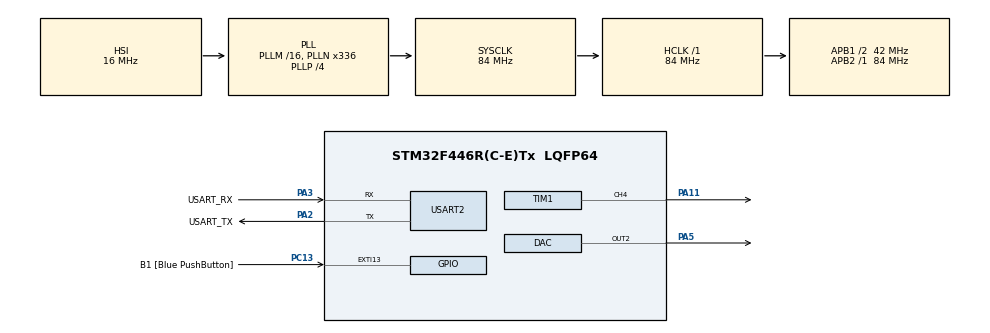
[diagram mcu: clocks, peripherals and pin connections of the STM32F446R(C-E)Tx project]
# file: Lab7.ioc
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DAC.DAC_Trigger2=DAC_TRIGGER_T6_TRGO
Dma.DAC2.1.Direction=DMA_MEMORY_TO_PERIPH
Dma.DAC2.1.FIFOMode=DMA_FIFOMODE_DISABLE
Dma.DAC2.1.Instance=DMA1_Stream6
Dma.DAC2.1.MemDataAlignment=DMA_MDATAALIGN_HALFWORD
Dma.DAC2.1.MemInc=DMA_MINC_ENABLE
Dma.DAC2.1.Mode=DMA_CIRCULAR
Dma.DAC2.1.PeriphDataAlignment=DMA_PDATAALIGN_HALFWORD
Dma.DAC2.1.PeriphInc=DMA_PINC_DISABLE
Dma.DAC2.1.Priority=DMA_PRIORITY_LOW
Dma.Request0=USART2_RX
Dma.Request1=DAC2
Dma.USART2_RX.0.Direction=DMA_PERIPH_TO_MEMORY
Dma.USART2_RX.0.FIFOMode=DMA_FIFOMODE_DISABLE
Dma.USART2_RX.0.Instance=DMA1_Stream5
Dma.USART2_RX.0.MemDataAlignment=DMA_MDATAALIGN_BYTE
Dma.USART2_RX.0.MemInc=DMA_MINC_ENABLE
Dma.USART2_RX.0.Mode=DMA_CIRCULAR
Dma.USART2_RX.0.PeriphDataAlignment=DMA_PDATAALIGN_BYTE
Dma.USART2_RX.0.PeriphInc=DMA_PINC_DISABLE
Dma.USART2_RX.0.Priority=DMA_PRIORITY_LOW
Mcu.Family=STM32F4
Mcu.Name=STM32F446R(C-E)Tx
Mcu.Package=LQFP64
NVIC.DMA1_Stream5_IRQn=true\:0\:0\:false\:false\:true\:false\:true\:true
NVIC.DMA1_Stream6_IRQn=true\:0\:0\:false\:false\:true\:false\:true\:true
NVIC.PriorityGroup=NVIC_PRIORITYGROUP_0
PA11.Signal=S_TIM1_CH4
PA13.GPIO_Label=TMS
PA13.Mode=Serial_Wire
PA13.Signal=SYS_JTMS-SWDIO
PA14.GPIO_Label=TCK
PA14.Mode=Serial_Wire
PA14.Signal=SYS_JTCK-SWCLK
PA2.GPIO_Label=USART_TX
PA2.Mode=Asynchronous
PA2.Signal=USART2_TX
PA3.GPIO_Label=USART_RX
PA3.Mode=Asynchronous
PA3.Signal=USART2_RX
PA5.Signal=COMP_DAC2_group
PB3.GPIO_Label=SWO
PB3.Signal=SYS_JTDO-SWO
PC13.GPIO_Label=B1 [Blue PushButton]
PC13.GPIO_ModeDefaultEXTI=GPIO_MODE_IT_FALLING
PC13.Signal=GPXTI13
PC14-OSC32_IN.Mode=LSE-External-Oscillator
PC14-OSC32_IN.Signal=RCC_OSC32_IN
PC15-OSC32_OUT.Mode=LSE-External-Oscillator
PC15-OSC32_OUT.Signal=RCC_OSC32_OUT
PH0-OSC_IN.Mode=HSE-External-Oscillator
PH0-OSC_IN.Signal=RCC_OSC_IN
PH1-OSC_OUT.Mode=HSE-External-Oscillator
PH1-OSC_OUT.Signal=RCC_OSC_OUT
ProjectManager.HeapSize=0x200
ProjectManager.StackSize=0x400
ProjectManager.TargetToolchain=STM32CubeIDE
RCC.48MHZClocksFreq_Value=84000000
RCC.AHBFreq_Value=84000000
RCC.APB1CLKDivider=RCC_HCLK_DIV2
RCC.APB1Freq_Value=42000000
RCC.APB1TimFreq_Value=84000000
RCC.APB2Freq_Value=84000000
RCC.APB2TimFreq_Value=84000000
RCC.CortexFreq_Value=84000000
RCC.FLatency-AdvancedSettings=FLASH_LATENCY_2
RCC.HCLKFreq_Value=84000000
RCC.HSE_VALUE=8000000
RCC.HSI_VALUE=16000000
RCC.PLLN=336
RCC.PLLP=RCC_PLLP_DIV4
RCC.SYSCLKFreq_VALUE=84000000
RCC.SYSCLKSource=RCC_SYSCLKSOURCE_PLLCLK
RCC.USBFreq_Value=168000000
RCC.VCOOutputFreq_Value=336000000
SH.COMP_DAC2_group.0=DAC_OUT2,DAC_OUT2
SH.S_TIM1_CH4.0=TIM1_CH4,PWM Generation4 CH4
TIM1.Channel-PWM\ Generation4\ CH4=TIM_CHANNEL_4
TIM1.Period=100-1
TIM1.Pulse-PWM\ Generation4\ CH4=50
TIM6.AutoReloadPreload=TIM_AUTORELOAD_PRELOAD_DISABLE
TIM6.TIM_MasterOutputTrigger=TIM_TRGO_UPDATE
USART2.VirtualMode=VM_ASYNC
VP_TIM6_VS_ClockSourceINT.Mode=Enable_Timer
board=NUCLEO-F446RE

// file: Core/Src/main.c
/* USER CODE BEGIN Header */
/**
  ******************************************************************************
  * @file           : main.c
  * @brief          : Main program body
  ******************************************************************************
  * @attention
  *
  * Copyright (c) 2026 STMicroelectronics.
  * All rights reserved.
  *
  * This software is licensed under terms that can be found in the LICENSE file
  * in the root directory of this software component.
  * If no LICENSE file comes with this software, it is provided AS-IS.
  *
  ******************************************************************************
  */
/* USER CODE END Header */
#include "main.h"

/* USER CODE BEGIN Includes */
#include <stdint.h>
#include <stdio.h>
#include <string.h>
#include "math.h"
/* USER CODE END Includes */

/* USER CODE BEGIN PTD */
#define NOTE_B3  247
#define NOTE_C5  523
#define NOTE_D5  587
#define NOTE_E5  659
#define NOTE_F5  698
#define NOTE_G5  784
#define NOTE_A5  880
#define NOTE_C4  262
#define NOTE_D4  294
#define NOTE_E4  330
#define NOTE_F4  349
#define NOTE_G4  392
#define NOTE_A4  440
#define NOTE_CS4 277   // Do# 4
#define NOTE_GS4 415   // Sol# 4
#define NOTE_AS4 466   // La# 4
#define NOTE_CS5 554   // Do# 5
#define NOTE_GS3 208   // Sol# 3
#define NOTE_AS3 233   // La# 3
#define NOTE_FS4 370   // Fa# 4
#define NOTE_DS4 311   // Re# 4
#define NOTE_B4  494   // Si 4
#define NOTE_DS5 622   // Re# 5
#define NOTE_FS5 740   // Fa# 5
#define NOTE_A3  220   // La 3
#define NOTE_C3  131   // Do 3
#define NOTE_D3  147   // Re 3
#define NOTE_E3  165   // Mi 3
#define NOTE_F3  175   // Fa 3
#define NOTE_G3  196   // Sol 3
#define NOTE_REST 0
/* USER CODE END PTD */

/* USER CODE BEGIN PD */
#define TIM_FREQ 84000000

#define sinsize 128
#define TIM_ARR_VAL 100
#define Pi 3.1415926
#define TIM_PSC_VAL 1
/* USER CODE END PD */

DAC_HandleTypeDef hdac;
DMA_HandleTypeDef hdma_dac2;

TIM_HandleTypeDef htim1;
TIM_HandleTypeDef htim6;

UART_HandleTypeDef huart2;
DMA_HandleTypeDef hdma_usart2_rx;

/* USER CODE BEGIN PV */
char estado[50];
uint8_t temp[2];
uint8_t val_can = 0;
uint32_t Ysen[128];
int fur_elise_freq[42] = {
    659, 622, 659, 622, 659, 494, 587, 523, 440,
    0,
    262, 330, 440,
    0,
    330, 415, 494,
    0,
    330, 659, 622, 659, 622, 659, 494, 587, 523, 440,
    0,
    262, 330, 440,
    0,
    330, 494, 440,
    0
};

int fur_elise_dur[42] = {
    180, 180, 180, 180, 180, 180, 180, 180, 360,
    120,
    180, 180, 360,
    120,
    180, 180, 360,
    120,
    180, 180, 180, 180, 180, 180, 180, 180, 360,
    120,
    180, 180, 360,
    120,
    180, 180, 400,
    200
};
int pirates_freq[34] = {
    440, 523, 587, 587, 587,
    659, 698, 659, 587,
    523, 440, 440,
    587, 659, 698, 659,
    587, 523, 587, 659,
    440, 0,
    440, 523, 587, 587,
    659, 698, 659, 587,
    523, 440, 440, 0
};

int pirates_dur[34] = {
    200, 200, 300, 150, 150,
    300, 200, 200, 300,
    200, 300, 200,
    200, 200, 300, 200,
    200, 200, 200, 400,
    300, 150,
    200, 200, 300, 150,
    300, 200, 200, 300,
    200, 400, 300, 500
};
int pirates_freq_dac[] = {
    NOTE_A4, NOTE_C5, NOTE_D5, NOTE_D5, NOTE_D5,
    NOTE_E5, NOTE_F5, NOTE_E5, NOTE_D5,
    NOTE_C5, NOTE_A4, NOTE_A4,
    NOTE_D5, NOTE_E5, NOTE_F5, NOTE_E5,
    NOTE_D5, NOTE_C5, NOTE_D5, NOTE_E5,
    NOTE_A4, NOTE_REST,
    NOTE_A4, NOTE_C5, NOTE_D5, NOTE_D5,
    NOTE_E5, NOTE_F5, NOTE_E5, NOTE_D5,
    NOTE_C5, NOTE_A4, NOTE_A4, NOTE_REST
};
int pirates_dur_dac[] = {
    200, 200, 300, 150, 150,
    300, 200, 200, 300,
    200, 300, 200,
    200, 200, 300, 200,
    200, 200, 200, 400,
    300, 150,
    200, 200, 300, 150,
    300, 200, 200, 300,
    200, 400, 300, 500
};
/* USER CODE END PV */

void SystemClock_Config(void);
static void MX_GPIO_Init(void);
static void MX_DMA_Init(void);
static void MX_TIM1_Init(void);
static void MX_USART2_UART_Init(void);
static void MX_DAC_Init(void);
static void MX_TIM6_Init(void);
/* USER CODE BEGIN PFP */
int presForFrecuency(int frecuency);
void playTone(int *tone, int *duration, int *pause, int size);
void noTone(void);
void noToneDAC(void);
void generarSin(void);
void playToneDAC(int *tone, int *duration, int *pause, int Nsize);
int calcularARR(int freq);
/* USER CODE END PFP */

/* USER CODE BEGIN 0 */
int calcularARR(int freq){
    if (freq == 0)
        return 0;
    int TF = sinsize * freq;
    return ((TIM_FREQ / ((TIM_PSC_VAL + 1) * TF)) - 1);
}
void generarSin(void){
	for(int x=0; x<sinsize; x++){
		Ysen[x] = (uint32_t)((sin(x * 2.0 * Pi / sinsize) + 1.0) * (4095.0 / 2.0));
	}
}
void playToneDAC(int *tone, int *duration, int *pause, int Nsize){
    for (int i = 0; i < Nsize; i++) {
        int arr = calcularARR(tone[i]);  // ✅ usar calcularARR()
        int dur = duration[i];
        int pauseBetweenTones = 0;
        if (pause != NULL)
            pauseBetweenTones = pause[i] - duration[i];

        if (tone[i] != NOTE_REST) {
            __HAL_TIM_SET_AUTORELOAD(&htim6, arr);
            __HAL_TIM_SET_COUNTER(&htim6, 0);
            HAL_DAC_Start_DMA(&hdac, DAC_CHANNEL_2,
                (uint32_t*)Ysen, sinsize, DAC_ALIGN_12B_R);
            HAL_TIM_Base_Start(&htim6);
        } else {
            noToneDAC();
        }
        HAL_Delay(dur);
        noToneDAC();
        HAL_Delay(pauseBetweenTones);
    }
}
int presForFrequency(int frequency){
	if (frequency == 0)
		return 0;
	return((TIM_FREQ / (TIM_ARR_VAL * frequency)) - 1);
}
void noTone(void){
    __HAL_TIM_SET_COMPARE(&htim1, TIM_CHANNEL_4, 0);
}
void playTone(int *tone, int *duration, int*pause, int size){
	for(int i = 0; i < size; i++){
	int prescaler = presForFrequency(tone[i]);
	int dur = duration[i];
	int pauseBetweenTones = 0;
	if(pause != NULL)
       pauseBetweenTones = pause[i] - duration[i];

	__HAL_TIM_SET_PRESCALER(&htim1, prescaler);
	__HAL_TIM_SET_COMPARE(&htim1, TIM_CHANNEL_4, TIM_ARR_VAL / 2);
	HAL_Delay(dur);
	noTone();
	HAL_Delay(pauseBetweenTones);
	}
}

void playTonePRE(const int *tone, const int *duration, const int*pause, int size){
	for(int i = 0; i < size; i++){
	int prescaler = presForFrequency(tone[i]);
	int dur = duration[i]*2;
	int pauseBetweenTones = 0;
	if(pause != NULL)
       pauseBetweenTones = pause[i] - duration[i];

	__HAL_TIM_SET_PRESCALER(&htim1, prescaler);
	__HAL_TIM_SET_COMPARE(&htim1, TIM_CHANNEL_4, TIM_ARR_VAL / 2);
	HAL_Delay(dur);
	noTone();

	HAL_Delay(pauseBetweenTones);
	}
}
void noToneDAC(void){
    HAL_DAC_Stop_DMA(&hdac, DAC_CHANNEL_2); // ✅
    HAL_TIM_Base_Stop(&htim6);              // ✅
}
/* USER CODE END 0 */

int main(void)
{

  /* MCU Configuration--------------------------------------------------------*/

  /* Reset of all peripherals, Initializes the Flash interface and the Systick. */
  HAL_Init();

  /* Configure the system clock */
  SystemClock_Config();

  /* Initialize all configured peripherals */
  MX_GPIO_Init();
  MX_DMA_Init();
  MX_TIM1_Init();
  MX_USART2_UART_Init();
  MX_DAC_Init();
  MX_TIM6_Init();
  /* USER CODE BEGIN 2 */
  HAL_TIM_PWM_Start(&htim1, TIM_CHANNEL_4);
  HAL_UART_Receive_DMA(&huart2, temp, 1);
  HAL_DAC_Start(&hdac, DAC_CHANNEL_2);
  /* USER CODE END 2 */

  /* Infinite loop */
  /* USER CODE BEGIN WHILE */
  strcpy(estado, "----------Menu de canciones----------\n");
  HAL_UART_Transmit(&huart2, estado, strlen(estado), 100);
  strcpy(estado, "Opcion 1: Para Elisa de Bethoven\n");
  HAL_UART_Transmit(&huart2, estado, strlen(estado), 100);
  strcpy(estado, "Opcion 2: Piratas del caribe \n");
  HAL_UART_Transmit(&huart2, estado, strlen(estado), 100);
  strcpy(estado, "Seleccione la opcion deseada (ingrese el numero): ");
  HAL_UART_Transmit(&huart2, estado, strlen(estado), 100);
  val_can = 0;

  generarSin();
  while (1)
  {

	  if (val_can == 1){
		  playTonePRE(fur_elise_freq, fur_elise_dur,NULL,(sizeof(fur_elise_freq)/sizeof(fur_elise_freq[0])));
		  val_can = 0;
		  strcpy(estado, "\n");
		  HAL_UART_Transmit(&huart2, estado, strlen(estado), 100);
		  strcpy(estado, "Seleccione la opcion deseada (ingrese el numero): ");
		  HAL_UART_Transmit(&huart2, estado, strlen(estado), 100);
	  } else if(val_can == 2){
		  //playTonePRE(pirates_freq, pirates_dur,NULL,(sizeof(pirates_freq)/sizeof(pirates_freq[0])));
		  playToneDAC(pirates_freq_dac, pirates_dur_dac, NULL, sizeof(pirates_freq_dac)/sizeof(pirates_freq_dac[0]));
		  val_can = 0;
		  strcpy(estado, "\n");
		  HAL_UART_Transmit(&huart2, estado, strlen(estado), 100);
		  strcpy(estado, "Seleccione la opcion deseada (ingrese el numero): ");
	  }
    /* USER CODE END WHILE */

  }
}

void SystemClock_Config(void)
{
  RCC_OscInitTypeDef RCC_OscInitStruct = {0};
  RCC_ClkInitTypeDef RCC_ClkInitStruct = {0};

  /** Configure the main internal regulator output voltage
  */
  __HAL_RCC_PWR_CLK_ENABLE();
  __HAL_PWR_VOLTAGESCALING_CONFIG(PWR_REGULATOR_VOLTAGE_SCALE3);

  /** Initializes the RCC Oscillators according to the specified parameters
  * in the RCC_OscInitTypeDef structure.
  */
  RCC_OscInitStruct.OscillatorType = RCC_OSCILLATORTYPE_HSI;
  RCC_OscInitStruct.HSIState = RCC_HSI_ON;
  RCC_OscInitStruct.HSICalibrationValue = RCC_HSICALIBRATION_DEFAULT;
  RCC_OscInitStruct.PLL.PLLState = RCC_PLL_ON;
  RCC_OscInitStruct.PLL.PLLSource = RCC_PLLSOURCE_HSI;
  RCC_OscInitStruct.PLL.PLLM = 16;
  RCC_OscInitStruct.PLL.PLLN = 336;
  RCC_OscInitStruct.PLL.PLLP = RCC_PLLP_DIV4;
  RCC_OscInitStruct.PLL.PLLQ = 2;
  RCC_OscInitStruct.PLL.PLLR = 2;
  if (HAL_RCC_OscConfig(&RCC_OscInitStruct) != HAL_OK)
  {
    Error_Handler();
  }

  /** Initializes the CPU, AHB and APB buses clocks
  */
  RCC_ClkInitStruct.ClockType = RCC_CLOCKTYPE_HCLK|RCC_CLOCKTYPE_SYSCLK
                              |RCC_CLOCKTYPE_PCLK1|RCC_CLOCKTYPE_PCLK2;
  RCC_ClkInitStruct.SYSCLKSource = RCC_SYSCLKSOURCE_PLLCLK;
  RCC_ClkInitStruct.AHBCLKDivider = RCC_SYSCLK_DIV1;
  RCC_ClkInitStruct.APB1CLKDivider = RCC_HCLK_DIV2;
  RCC_ClkInitStruct.APB2CLKDivider = RCC_HCLK_DIV1;

  if (HAL_RCC_ClockConfig(&RCC_ClkInitStruct, FLASH_LATENCY_2) != HAL_OK)
  {
    Error_Handler();
  }
}

static void MX_DAC_Init(void)
{

  DAC_ChannelConfTypeDef sConfig = {0};

  /** DAC Initialization
  */
  hdac.Instance = DAC;
  if (HAL_DAC_Init(&hdac) != HAL_OK)
  {
    Error_Handler();
  }

  /** DAC channel OUT2 config
  */
  sConfig.DAC_Trigger = DAC_TRIGGER_T6_TRGO;
  sConfig.DAC_OutputBuffer = DAC_OUTPUTBUFFER_ENABLE;
  if (HAL_DAC_ConfigChannel(&hdac, &sConfig, DAC_CHANNEL_2) != HAL_OK)
  {
    Error_Handler();
  }

}

static void MX_TIM1_Init(void)
{

  TIM_MasterConfigTypeDef sMasterConfig = {0};
  TIM_OC_InitTypeDef sConfigOC = {0};
  TIM_BreakDeadTimeConfigTypeDef sBreakDeadTimeConfig = {0};

  htim1.Instance = TIM1;
  htim1.Init.Prescaler = 0;
  htim1.Init.CounterMode = TIM_COUNTERMODE_UP;
  htim1.Init.Period = 100-1;
  htim1.Init.ClockDivision = TIM_CLOCKDIVISION_DIV1;
  htim1.Init.RepetitionCounter = 0;
  htim1.Init.AutoReloadPreload = TIM_AUTORELOAD_PRELOAD_DISABLE;
  if (HAL_TIM_PWM_Init(&htim1) != HAL_OK)
  {
    Error_Handler();
  }
  sMasterConfig.MasterOutputTrigger = TIM_TRGO_RESET;
  sMasterConfig.MasterSlaveMode = TIM_MASTERSLAVEMODE_DISABLE;
  if (HAL_TIMEx_MasterConfigSynchronization(&htim1, &sMasterConfig) != HAL_OK)
  {
    Error_Handler();
  }
  sConfigOC.OCMode = TIM_OCMODE_PWM1;
  sConfigOC.Pulse = 50;
  sConfigOC.OCPolarity = TIM_OCPOLARITY_HIGH;
  sConfigOC.OCFastMode = TIM_OCFAST_DISABLE;
  sConfigOC.OCIdleState = TIM_OCIDLESTATE_RESET;
  sConfigOC.OCNIdleState = TIM_OCNIDLESTATE_RESET;
  if (HAL_TIM_PWM_ConfigChannel(&htim1, &sConfigOC, TIM_CHANNEL_4) != HAL_OK)
  {
    Error_Handler();
  }
  sBreakDeadTimeConfig.OffStateRunMode = TIM_OSSR_DISABLE;
  sBreakDeadTimeConfig.OffStateIDLEMode = TIM_OSSI_DISABLE;
  sBreakDeadTimeConfig.LockLevel = TIM_LOCKLEVEL_OFF;
  sBreakDeadTimeConfig.DeadTime = 0;
  sBreakDeadTimeConfig.BreakState = TIM_BREAK_DISABLE;
  sBreakDeadTimeConfig.BreakPolarity = TIM_BREAKPOLARITY_HIGH;
  sBreakDeadTimeConfig.AutomaticOutput = TIM_AUTOMATICOUTPUT_DISABLE;
  if (HAL_TIMEx_ConfigBreakDeadTime(&htim1, &sBreakDeadTimeConfig) != HAL_OK)
  {
    Error_Handler();
  }
  HAL_TIM_MspPostInit(&htim1);

}

static void MX_TIM6_Init(void)
{

  TIM_MasterConfigTypeDef sMasterConfig = {0};

  htim6.Instance = TIM6;
  htim6.Init.Prescaler = 0;
  htim6.Init.CounterMode = TIM_COUNTERMODE_UP;
  htim6.Init.Period = 65535;
  htim6.Init.AutoReloadPreload = TIM_AUTORELOAD_PRELOAD_DISABLE;
  if (HAL_TIM_Base_Init(&htim6) != HAL_OK)
  {
    Error_Handler();
  }
  sMasterConfig.MasterOutputTrigger = TIM_TRGO_UPDATE;
  sMasterConfig.MasterSlaveMode = TIM_MASTERSLAVEMODE_DISABLE;
  if (HAL_TIMEx_MasterConfigSynchronization(&htim6, &sMasterConfig) != HAL_OK)
  {
    Error_Handler();
  }

}

static void MX_USART2_UART_Init(void)
{

  huart2.Instance = USART2;
  huart2.Init.BaudRate = 115200;
  huart2.Init.WordLength = UART_WORDLENGTH_8B;
  huart2.Init.StopBits = UART_STOPBITS_1;
  huart2.Init.Parity = UART_PARITY_NONE;
  huart2.Init.Mode = UART_MODE_TX_RX;
  huart2.Init.HwFlowCtl = UART_HWCONTROL_NONE;
  huart2.Init.OverSampling = UART_OVERSAMPLING_16;
  if (HAL_UART_Init(&huart2) != HAL_OK)
  {
    Error_Handler();
  }

}

static void MX_DMA_Init(void)
{

  /* DMA controller clock enable */
  __HAL_RCC_DMA1_CLK_ENABLE();

  /* DMA interrupt init */
  /* DMA1_Stream5_IRQn interrupt configuration */
  HAL_NVIC_SetPriority(DMA1_Stream5_IRQn, 0, 0);
  HAL_NVIC_EnableIRQ(DMA1_Stream5_IRQn);
  /* DMA1_Stream6_IRQn interrupt configuration */
  HAL_NVIC_SetPriority(DMA1_Stream6_IRQn, 0, 0);
  HAL_NVIC_EnableIRQ(DMA1_Stream6_IRQn);

}

static void MX_GPIO_Init(void)
{
  GPIO_InitTypeDef GPIO_InitStruct = {0};

  /* GPIO Ports Clock Enable */
  __HAL_RCC_GPIOC_CLK_ENABLE();
  __HAL_RCC_GPIOH_CLK_ENABLE();
  __HAL_RCC_GPIOA_CLK_ENABLE();
  __HAL_RCC_GPIOB_CLK_ENABLE();

  /*Configure GPIO pin : B1_Pin */
  GPIO_InitStruct.Pin = B1_Pin;
  GPIO_InitStruct.Mode = GPIO_MODE_IT_FALLING;
  GPIO_InitStruct.Pull = GPIO_NOPULL;
  HAL_GPIO_Init(B1_GPIO_Port, &GPIO_InitStruct);

}

/* USER CODE BEGIN 4 */
void HAL_UART_RxCpltCallback(UART_HandleTypeDef *huart){
	HAL_UART_Receive_IT(&huart2, temp, 1);
	if (temp[0] == '1'){
		val_can = 1;
	}else if(temp[0] == '2'){
		val_can = 2;
	}else{
		val_can = 0;
	}

}
void UART_DMAReceiveCplt(DMA_HandleTypeDef *hdma){
	//HAL_UART_Transmit(&huart2, prueba, strlen(prueba), 100);
	HAL_UART_Receive_DMA(&huart2, temp, 1);
}
/* USER CODE END 4 */

void Error_Handler(void)
{
  __disable_irq();
  while (1)
  {
  }
}
